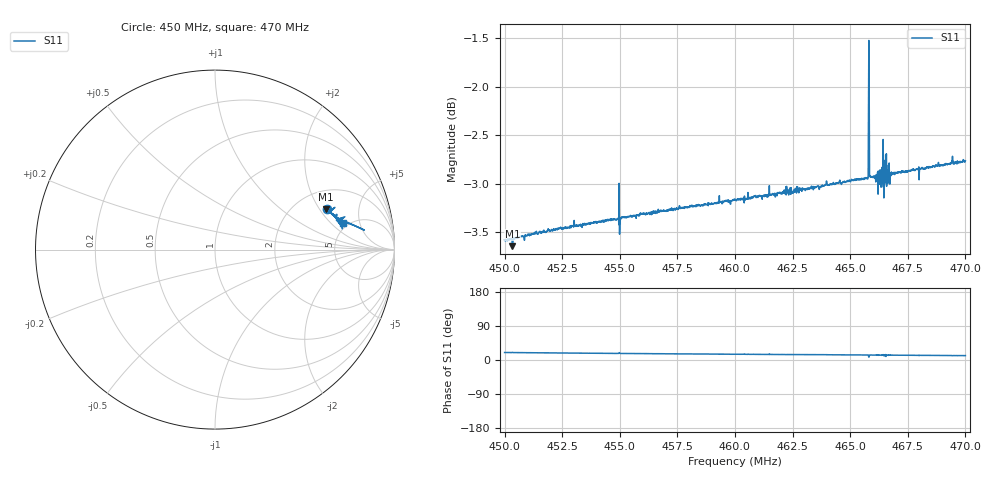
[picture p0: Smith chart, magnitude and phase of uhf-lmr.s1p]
! Calibrated averaged scanner-service zoom
# Hz S RI R 50
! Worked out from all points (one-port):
!   2001 points, 450 MHz to 470 MHz, reference 50 ohm
!   lowest |S11| = -3.6 dB at 450.34 MHz (marker M1), VSWR 4.84, Z = 144 + j114 ohm
!   |S11| at or under -10 dB: nowhere
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4.5e8  0.6232 0.2239
4.5034e8  0.6173 0.2256
4.525e8  0.6364 0.2126
4.5483e8  0.6471 0.203
4.5489e8  0.6479 0.2022
4.55e8  0.641 0.2041
4.5513e8  0.6495 0.2016
4.575e8  0.6601 0.1915
4.6e8  0.6705 0.1821
4.625e8  0.6787 0.1716
4.65e8  0.6905 0.1648
4.6568e8  0.6933 0.1631
4.6569e8  0.6931 0.1636
4.6572e8  0.6937 0.1625
4.6573e8  0.694 0.1634
4.6588e8  0.6958 0.1626
4.659e8  0.695 0.1626
4.6593e8  0.6953 0.161
4.6594e8  0.6952 0.161
4.6627e8  0.6933 0.1615
4.6634e8  0.6872 0.1569
4.664e8  0.6973 0.1589
4.6647e8  0.7005 0.138
4.6657e8  0.7119 0.1766
4.6665e8  0.6893 0.1629
4.6666e8  0.7076 0.1514
4.675e8  0.7011 0.1544
4.7e8  0.7125 0.1459
